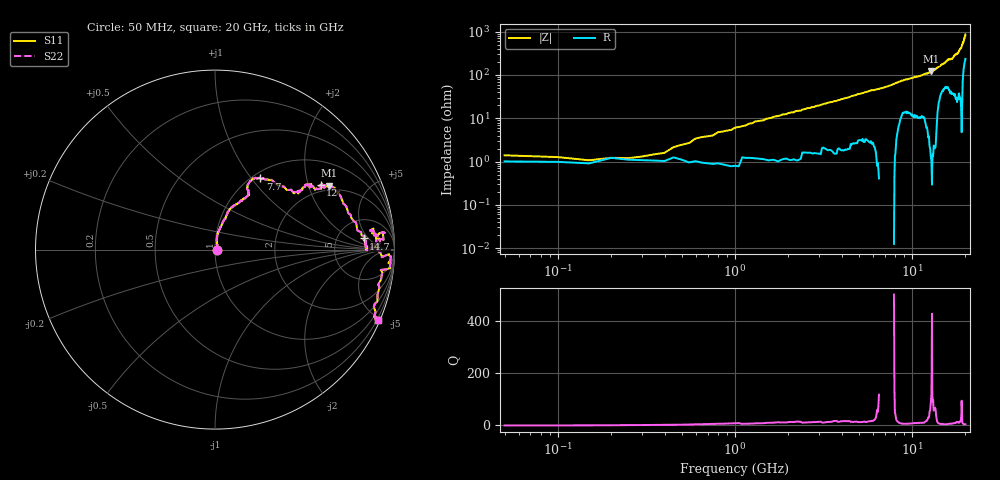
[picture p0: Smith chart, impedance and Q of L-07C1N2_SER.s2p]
#	mhz	s	ma	r	50
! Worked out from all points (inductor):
!   400 points, 50 MHz to 20 GHz, reference 50 ohm
!   read as one part in series: L = 910 pH near 600 MHz
!   highest Q = 105 at 12.8 GHz (marker M1), where L = 1.51 nH
!   S11 on the Smith chart (normalised r, x): 50 MHz: 1.02, +0.00; 7.7 GHz: 1.09, +1.11; 12 GHz: 1.75, +2.41; 14.7 GHz: 9.27, +3.71; 20 GHz: 0.12, -4.87
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50  0.01 0.6  0.99 1.1  0.99 1.1  0.01 0.6
150  0.01 37.5  0.99 1.0  0.99 1.0  0.01 37.5
200  0.02 45.5  0.99 0.7  0.99 0.7  0.02 45.5
400  0.02 57.8  0.99 -0.4  0.99 -0.4  0.02 57.8
450  0.03 59.4  0.99 -0.5  0.99 -0.5  0.03 59.4
550  0.03 70.6  0.99 -1.2  0.99 -1.2  0.03 70.6
600  0.04 72.6  0.99 -1.5  0.99 -1.5  0.04 72.6
750  0.04 75.9  0.99 -2.2  0.99 -2.2  0.04 75.9
1300  0.08 80.3  0.98 -4.9  0.98 -4.9  0.08 80.3
3400  0.2 71.3  0.96 -14.1  0.96 -14.1  0.2 71.3
6700  0.4 63.0  0.9 -30.7  0.9 -30.7  0.4 63.0
7700  0.47 57.5  0.86 -35.9  0.86 -35.9  0.47 57.5
8700  0.54 38.2  0.81 -39.8  0.81 -39.8  0.54 38.2
10050  0.61 34.9  0.77 -44.0  0.77 -44.0  0.61 34.9
12000  0.69 31.5  0.7 -54.1  0.7 -54.1  0.69 31.5
12800  0.73 29.2  0.65 -60.6  0.65 -60.6  0.73 29.2
13350  0.72 29.3  0.6 -63.9  0.6 -63.9  0.72 29.3
14700  0.83 4.3  0.51 -70.4  0.51 -70.4  0.83 4.3
15350  0.86 -0.3  0.47 -73.1  0.47 -73.1  0.86 -0.3
16700  0.88 6.9  0.39 -73.1  0.39 -73.1  0.88 6.9
18650  0.98 -2.2  0.25 -88.1  0.25 -88.1  0.98 -2.2
20000  0.99 -23.2  0.11 -97.2  0.11 -97.2  0.99 -23.2
